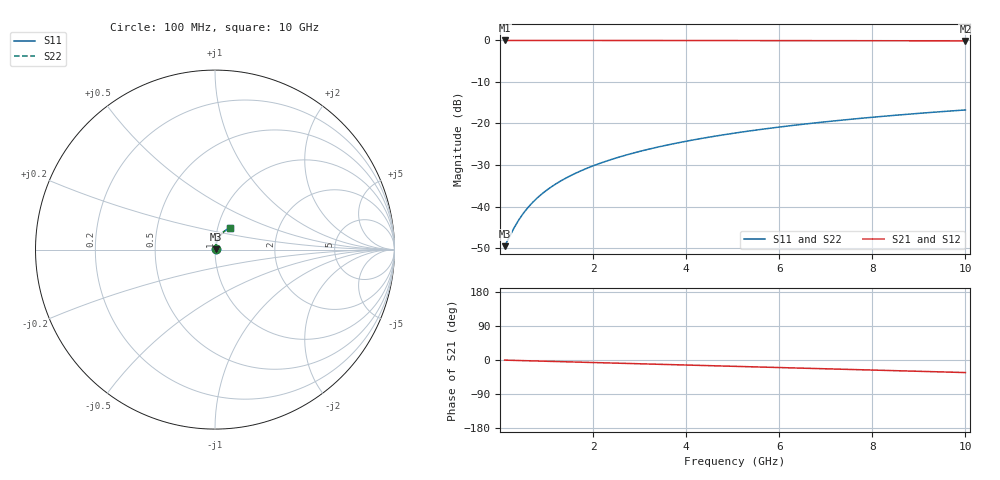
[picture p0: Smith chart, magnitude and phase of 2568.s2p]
# Hz S RI R 50.00
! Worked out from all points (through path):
!   100 points, 100 MHz to 10 GHz, reference 50 ohm
!   highest |S21| = -0.03 dB at 100 MHz (marker M1); lowest = -0.1 dB at 10 GHz (marker M2)
!   group delay of S21, straight-line fit = 9.21 ps
!   lowest |S11| = -49.5 dB at 100 MHz (marker M3), VSWR 1.01, Z = 50.3 + j0.153 ohm
!   |S11| at or under -10 dB: start of sweep to end of sweep
!   |S22| runs from -49.5 to -16.7 dB; largest |S21 - S12| = 0
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1e8  0.00298 0.00152  0.997 -0.00577  0.997 -0.00577  0.00298 0.00152
3e8  0.00308 0.00457  0.9968 -0.0173  0.9968 -0.0173  0.00308 0.00457
4e8  0.00315 0.0061  0.9967 -0.0231  0.9967 -0.0231  0.00315 0.0061
5e8  0.00324 0.00762  0.9965 -0.0288  0.9965 -0.0288  0.00324 0.00762
6e8  0.00334 0.00914  0.9963 -0.0346  0.9963 -0.0346  0.00334 0.00914
7e8  0.00346 0.0107  0.9961 -0.0404  0.9961 -0.0404  0.00346 0.0107
8e8  0.0036 0.0122  0.9958 -0.0461  0.9958 -0.0461  0.0036 0.0122
1e9  0.00393 0.0152  0.9951 -0.0577  0.9951 -0.0577  0.00393 0.0152
1.2e9  0.00432 0.0182  0.9943 -0.0692  0.9943 -0.0692  0.00432 0.0182
1.5e9  0.00505 0.0227  0.9929 -0.0864  0.9929 -0.0864  0.00505 0.0227
1.8e9  0.00593 0.0272  0.9911 -0.1036  0.9911 -0.1036  0.00593 0.0272
2.1e9  0.00696 0.0317  0.989 -0.1208  0.989 -0.1208  0.00696 0.0317
2.5e9  0.00857 0.0375  0.9857 -0.1436  0.9857 -0.1436  0.00857 0.0375
2.9e9  0.0105 0.0433  0.9818 -0.1664  0.9818 -0.1664  0.0105 0.0433
3.4e9  0.0132 0.0504  0.9762 -0.1947  0.9762 -0.1947  0.0132 0.0504
4.2e9  0.0184 0.0614  0.9654 -0.2395  0.9654 -0.2395  0.0184 0.0614
5.1e9  0.0254 0.0731  0.9507 -0.2892  0.9507 -0.2892  0.0254 0.0731
5.9e9  0.0327 0.0829  0.9354 -0.3325  0.9354 -0.3325  0.0327 0.0829
6.7e9  0.0408 0.0919  0.9179 -0.375  0.9179 -0.375  0.0408 0.0919
7.5e9  0.0498 0.1002  0.8985 -0.4166  0.8985 -0.4166  0.0498 0.1002
8.4e9  0.0607 0.1084  0.8743 -0.462  0.8743 -0.462  0.0607 0.1084
1e10  0.082 0.1202  0.8255 -0.539  0.8255 -0.539  0.082 0.1202
